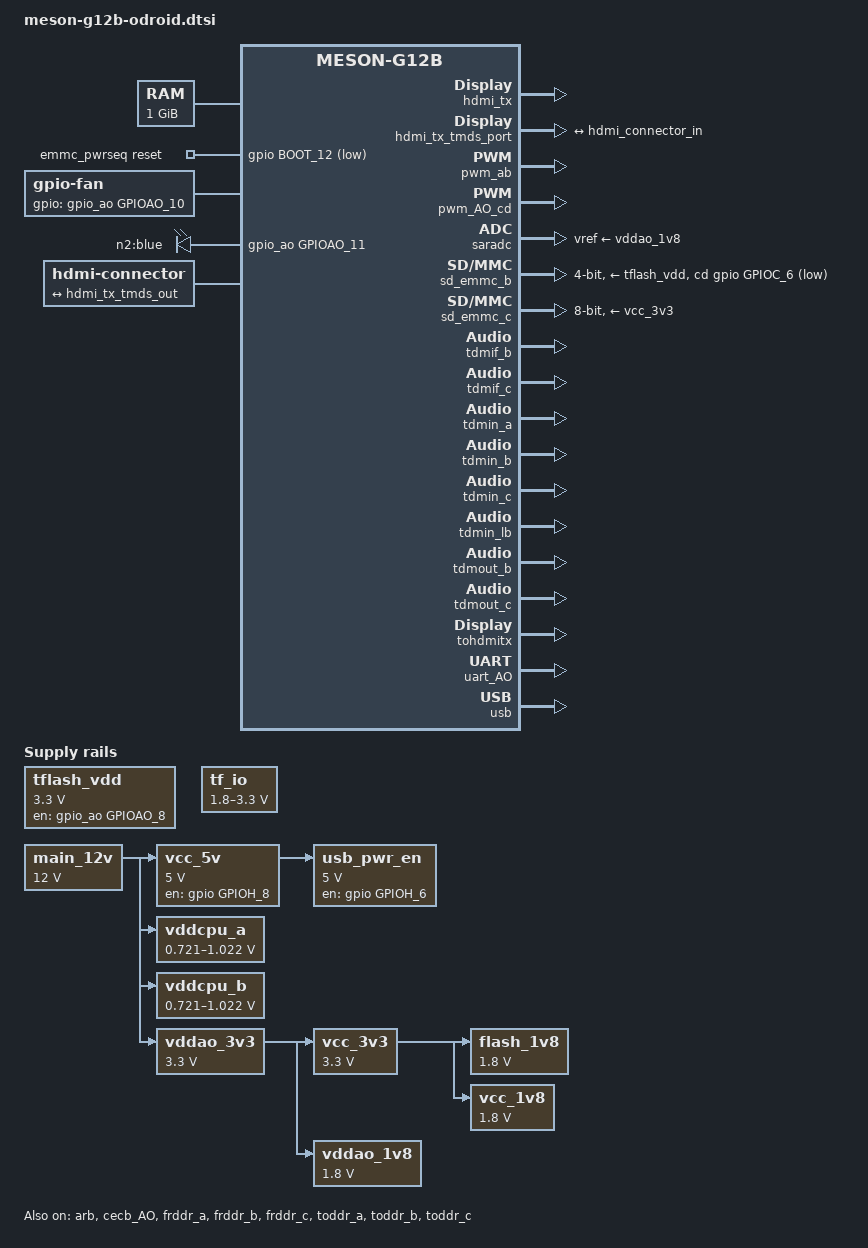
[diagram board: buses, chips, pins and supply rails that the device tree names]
// SPDX-License-Identifier: (GPL-2.0+ OR MIT)
/*
 * Copyright (c) 2019 BayLibre, SAS
 * Author: Neil Armstrong <narmstrong@baylibre.com>
 */

#include <dt-bindings/input/input.h>
#include <dt-bindings/gpio/meson-g12a-gpio.h>
#include <dt-bindings/sound/meson-g12a-toacodec.h>
#include <dt-bindings/sound/meson-g12a-tohdmitx.h>

/ {
	aliases {
		serial0 = &uart_AO;
		ethernet0 = &ethmac;
		rtc1 = &vrtc;
	};

	chosen {
		stdout-path = "serial0:115200n8";
	};

	memory@0 {
		device_type = "memory";
		reg = <0x0 0x0 0x0 0x40000000>;
	};

	emmc_pwrseq: emmc-pwrseq {
		compatible = "mmc-pwrseq-emmc";
		reset-gpios = <&gpio BOOT_12 GPIO_ACTIVE_LOW>;
	};

	fan: gpio-fan {
		compatible = "gpio-fan";
		gpios = <&gpio_ao GPIOAO_10 GPIO_ACTIVE_HIGH>;
		/* Using Dummy Speed */
		gpio-fan,speed-map = <0 0>, <1 1>;
		#cooling-cells = <2>;
	};

	leds {
		compatible = "gpio-leds";

		led-blue {
			label = "n2:blue";
			gpios = <&gpio_ao GPIOAO_11 GPIO_ACTIVE_HIGH>;
			linux,default-trigger = "heartbeat";
		};
	};

	tflash_vdd: regulator-tflash-vdd {
		compatible = "regulator-fixed";

		regulator-name = "TFLASH_VDD";
		regulator-min-microvolt = <3300000>;
		regulator-max-microvolt = <3300000>;

		gpio = <&gpio_ao GPIOAO_8 GPIO_ACTIVE_HIGH>;
		enable-active-high;
		regulator-always-on;
	};

	tf_io: gpio-regulator-tf-io {
		compatible = "regulator-gpio";

		regulator-name = "TF_IO";
		regulator-min-microvolt = <1800000>;
		regulator-max-microvolt = <3300000>;

		gpios = <&gpio_ao GPIOAO_9 GPIO_ACTIVE_HIGH>;
		gpios-states = <0>;

		states = <3300000 0>,
			 <1800000 1>;
	};

	flash_1v8: regulator-flash-1v8 {
		compatible = "regulator-fixed";
		regulator-name = "FLASH_1V8";
		regulator-min-microvolt = <1800000>;
		regulator-max-microvolt = <1800000>;
		vin-supply = <&vcc_3v3>;
		regulator-always-on;
	};

	main_12v: regulator-main-12v {
		compatible = "regulator-fixed";
		regulator-name = "12V";
		regulator-min-microvolt = <12000000>;
		regulator-max-microvolt = <12000000>;
		regulator-always-on;
	};

	usb_pwr_en: regulator-usb-pwr-en {
		compatible = "regulator-fixed";
		regulator-name = "USB_PWR_EN";
		regulator-min-microvolt = <5000000>;
		regulator-max-microvolt = <5000000>;
		vin-supply = <&vcc_5v>;

		/* Connected to the microUSB port power enable */
		gpio = <&gpio GPIOH_6 GPIO_ACTIVE_HIGH>;
		enable-active-high;
	};

	vcc_5v: regulator-vcc-5v {
		compatible = "regulator-fixed";
		regulator-name = "5V";
		regulator-min-microvolt = <5000000>;
		regulator-max-microvolt = <5000000>;
		regulator-always-on;
		vin-supply = <&main_12v>;
		gpio = <&gpio GPIOH_8 GPIO_OPEN_DRAIN>;
		enable-active-high;
	};

	vcc_1v8: regulator-vcc-1v8 {
		compatible = "regulator-fixed";
		regulator-name = "VCC_1V8";
		regulator-min-microvolt = <1800000>;
		regulator-max-microvolt = <1800000>;
		vin-supply = <&vcc_3v3>;
		regulator-always-on;
	};

	vcc_3v3: regulator-vcc-3v3 {
		compatible = "regulator-fixed";
		regulator-name = "VCC_3V3";
		regulator-min-microvolt = <3300000>;
		regulator-max-microvolt = <3300000>;
		vin-supply = <&vddao_3v3>;
		regulator-always-on;
		/* FIXME: actually controlled by VDDCPU_B_EN */
	};

	vddcpu_a: regulator-vddcpu-a {
		/*
		 * MP8756GD Regulator.
		 */
		compatible = "pwm-regulator";

		regulator-name = "VDDCPU_A";
		regulator-min-microvolt = <721000>;
		regulator-max-microvolt = <1022000>;

		pwm-supply = <&main_12v>;

		pwms = <&pwm_ab 0 1250 0>;
		pwm-dutycycle-range = <100 0>;

		regulator-boot-on;
		regulator-always-on;
	};

	vddcpu_b: regulator-vddcpu-b {
		/*
		 * Silergy SY8120B1ABC Regulator.
		 */
		compatible = "pwm-regulator";

		regulator-name = "VDDCPU_B";
		regulator-min-microvolt = <721000>;
		regulator-max-microvolt = <1022000>;

		pwm-supply = <&main_12v>;

		pwms = <&pwm_AO_cd 1 1250 0>;
		pwm-dutycycle-range = <100 0>;

		regulator-boot-on;
		regulator-always-on;
	};

	vddao_1v8: regulator-vddao-1v8 {
		compatible = "regulator-fixed";
		regulator-name = "VDDAO_1V8";
		regulator-min-microvolt = <1800000>;
		regulator-max-microvolt = <1800000>;
		vin-supply = <&vddao_3v3>;
		regulator-always-on;
	};

	vddao_3v3: regulator-vddao-3v3 {
		compatible = "regulator-fixed";
		regulator-name = "VDDAO_3V3";
		regulator-min-microvolt = <3300000>;
		regulator-max-microvolt = <3300000>;
		vin-supply = <&main_12v>;
		regulator-always-on;
	};

	hdmi-connector {
		compatible = "hdmi-connector";
		type = "a";

		port {
			hdmi_connector_in: endpoint {
				remote-endpoint = <&hdmi_tx_tmds_out>;
			};
		};
	};
};

&arb {
	status = "okay";
};

&cec_AO {
	pinctrl-0 = <&cec_ao_a_h_pins>;
	pinctrl-names = "default";
	status = "disabled";
	hdmi-phandle = <&hdmi_tx>;
};

&cecb_AO {
	pinctrl-0 = <&cec_ao_b_h_pins>;
	pinctrl-names = "default";
	status = "okay";
	hdmi-phandle = <&hdmi_tx>;
};

&clkc_audio {
	status = "okay";
};

&cpu0 {
	cpu-supply = <&vddcpu_b>;
	operating-points-v2 = <&cpu_opp_table_0>;
	clocks = <&clkc CLKID_CPU_CLK>;
	clock-latency = <50000>;
};

&cpu1 {
	cpu-supply = <&vddcpu_b>;
	operating-points-v2 = <&cpu_opp_table_0>;
	clocks = <&clkc CLKID_CPU_CLK>;
	clock-latency = <50000>;
};

&cpu100 {
	cpu-supply = <&vddcpu_a>;
	operating-points-v2 = <&cpub_opp_table_1>;
	clocks = <&clkc CLKID_CPUB_CLK>;
	clock-latency = <50000>;
};

&cpu101 {
	cpu-supply = <&vddcpu_a>;
	operating-points-v2 = <&cpub_opp_table_1>;
	clocks = <&clkc CLKID_CPUB_CLK>;
	clock-latency = <50000>;
};

&cpu102 {
	cpu-supply = <&vddcpu_a>;
	operating-points-v2 = <&cpub_opp_table_1>;
	clocks = <&clkc CLKID_CPUB_CLK>;
	clock-latency = <50000>;
};

&cpu103 {
	cpu-supply = <&vddcpu_a>;
	operating-points-v2 = <&cpub_opp_table_1>;
	clocks = <&clkc CLKID_CPUB_CLK>;
	clock-latency = <50000>;
};

&cpu_thermal {
	trips {
		cpu_active: cpu-active {
			temperature = <60000>; /* millicelsius */
			hysteresis = <2000>; /* millicelsius */
			type = "active";
		};
	};

	cooling-maps {
		map {
			trip = <&cpu_active>;
			cooling-device = <&fan THERMAL_NO_LIMIT THERMAL_NO_LIMIT>;
		};
	};
};

&ddr_thermal {
	trips {
		ddr_active: ddr-active {
			temperature = <60000>; /* millicelsius */
			hysteresis = <2000>; /* millicelsius */
			type = "active";
		};
	};

	cooling-maps {
		map {
			trip = <&ddr_active>;
			cooling-device = <&fan THERMAL_NO_LIMIT THERMAL_NO_LIMIT>;
		};
	};
};

&frddr_a {
	status = "okay";
};

&frddr_b {
	status = "okay";
};

&frddr_c {
	status = "okay";
};

&hdmi_tx {
	status = "okay";
	pinctrl-0 = <&hdmitx_hpd_pins>, <&hdmitx_ddc_pins>;
	pinctrl-names = "default";
	hdmi-supply = <&vcc_5v>;
};

&hdmi_tx_tmds_port {
	hdmi_tx_tmds_out: endpoint {
		remote-endpoint = <&hdmi_connector_in>;
	};
};

&pwm_ab {
	pinctrl-0 = <&pwm_a_e_pins>;
	pinctrl-names = "default";
	status = "okay";
};

&pwm_AO_cd {
	pinctrl-0 = <&pwm_ao_d_e_pins>;
	pinctrl-names = "default";
	status = "okay";
};

&saradc {
	status = "okay";
	vref-supply = <&vddao_1v8>;
};

/* SD card */
&sd_emmc_b {
	status = "okay";
	pinctrl-0 = <&sdcard_c_pins>;
	pinctrl-1 = <&sdcard_clk_gate_c_pins>;
	pinctrl-names = "default", "clk-gate";

	bus-width = <4>;
	cap-sd-highspeed;
	max-frequency = <50000000>;
	disable-wp;

	cd-gpios = <&gpio GPIOC_6 GPIO_ACTIVE_LOW>;
	vmmc-supply = <&tflash_vdd>;
	vqmmc-supply = <&tf_io>;

};

/* eMMC */
&sd_emmc_c {
	status = "okay";
	pinctrl-0 = <&emmc_ctrl_pins>, <&emmc_data_8b_pins>, <&emmc_ds_pins>;
	pinctrl-1 = <&emmc_clk_gate_pins>;
	pinctrl-names = "default", "clk-gate";

	bus-width = <8>;
	cap-mmc-highspeed;
	mmc-ddr-1_8v;
	mmc-hs200-1_8v;
	max-frequency = <200000000>;
	disable-wp;

	mmc-pwrseq = <&emmc_pwrseq>;
	vmmc-supply = <&vcc_3v3>;
	vqmmc-supply = <&flash_1v8>;
};

&tdmif_b {
	status = "okay";
};

&tdmif_c {
	status = "okay";
};

&tdmin_a {
	status = "okay";
};

&tdmin_b {
	status = "okay";
};

&tdmin_c {
	status = "okay";
};

&tdmin_lb {
	status = "okay";
};

&tdmout_b {
	status = "okay";
};

&tdmout_c {
	status = "okay";
};

&tohdmitx {
	status = "okay";
};

&toddr_a {
	status = "okay";
};

&toddr_b {
	status = "okay";
};

&toddr_c {
	status = "okay";
};

&uart_AO {
	status = "okay";
	pinctrl-0 = <&uart_ao_a_pins>;
	pinctrl-names = "default";
};

&usb {
	status = "okay";
};

&usb2_phy0 {
	phy-supply = <&vcc_5v>;
};
